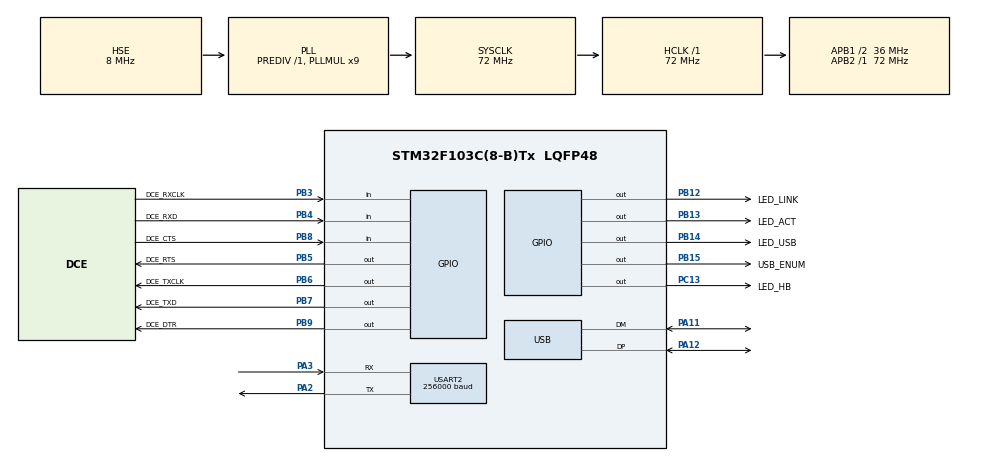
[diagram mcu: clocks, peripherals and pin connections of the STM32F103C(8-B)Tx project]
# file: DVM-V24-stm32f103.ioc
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Dma.Request0=USART2_TX
Dma.USART2_TX.0.Direction=DMA_MEMORY_TO_PERIPH
Dma.USART2_TX.0.Instance=DMA1_Channel7
Dma.USART2_TX.0.MemDataAlignment=DMA_MDATAALIGN_BYTE
Dma.USART2_TX.0.MemInc=DMA_MINC_ENABLE
Dma.USART2_TX.0.Mode=DMA_NORMAL
Dma.USART2_TX.0.PeriphDataAlignment=DMA_PDATAALIGN_BYTE
Dma.USART2_TX.0.PeriphInc=DMA_PINC_DISABLE
Dma.USART2_TX.0.Priority=DMA_PRIORITY_LOW
IWDG.Reload=624
Mcu.Family=STM32F1
Mcu.Name=STM32F103C(8-B)Tx
Mcu.Package=LQFP48
NVIC.DMA1_Channel7_IRQn=true\:2\:0\:true\:false\:true\:false\:true\:true
NVIC.PriorityGroup=NVIC_PRIORITYGROUP_4
NVIC.TIM2_IRQn=true\:0\:0\:false\:false\:true\:true\:true\:true
NVIC.USART2_IRQn=true\:4\:0\:true\:false\:true\:true\:true\:true
NVIC.USB_HP_CAN1_TX_IRQn=true\:3\:0\:true\:false\:true\:true\:true\:true
NVIC.USB_LP_CAN1_RX0_IRQn=true\:3\:0\:true\:false\:true\:true\:true\:true
PA11.Mode=Device
PA11.Signal=USB_DM
PA12.Mode=Device
PA12.Signal=USB_DP
PA13.Mode=Serial_Wire
PA13.Signal=SYS_JTMS-SWDIO
PA14.Mode=Serial_Wire
PA14.Signal=SYS_JTCK-SWCLK
PA2.Mode=Asynchronous
PA2.Signal=USART2_TX
PA3.Mode=Asynchronous
PA3.Signal=USART2_RX
PB12.GPIO_Label=LED_LINK
PB12.Signal=GPIO_Output
PB13.GPIO_Label=LED_ACT
PB13.Signal=GPIO_Output
PB14.GPIO_Label=LED_USB
PB14.Signal=GPIO_Output
PB15.GPIO_Label=USB_ENUM
PB15.Signal=GPIO_Output
PB3.GPIO_Label=DCE_RXCLK
PB3.Signal=GPIO_Input
PB4.GPIO_Label=DCE_RXD
PB4.Signal=GPIO_Input
PB5.GPIO_Label=DCE_RTS
PB5.Signal=GPIO_Output
PB6.GPIO_Label=DCE_TXCLK
PB6.Signal=GPIO_Output
PB7.GPIO_Label=DCE_TXD
PB7.Signal=GPIO_Output
PB8.GPIO_Label=DCE_CTS
PB8.Signal=GPIO_Input
PB9.GPIO_Label=DCE_DTR
PB9.Signal=GPIO_Output
PC13-TAMPER-RTC.GPIO_Label=LED_HB
PC13-TAMPER-RTC.Signal=GPIO_Output
PD0-OSC_IN.Mode=HSE-External-Oscillator
PD0-OSC_IN.Signal=RCC_OSC_IN
PD1-OSC_OUT.Mode=HSE-External-Oscillator
PD1-OSC_OUT.Signal=RCC_OSC_OUT
ProjectManager.HeapSize=0x600
ProjectManager.StackSize=0x400
ProjectManager.TargetToolchain=Makefile
RCC.AHBFreq_Value=72000000
RCC.APB1CLKDivider=RCC_HCLK_DIV2
RCC.APB1Freq_Value=36000000
RCC.APB1TimFreq_Value=72000000
RCC.APB2Freq_Value=72000000
RCC.APB2TimFreq_Value=72000000
RCC.HCLKFreq_Value=72000000
RCC.PLLMUL=RCC_PLL_MUL9
RCC.PLLSourceVirtual=RCC_PLLSOURCE_HSE
RCC.SYSCLKFreq_VALUE=72000000
RCC.SYSCLKSource=RCC_SYSCLKSOURCE_PLLCLK
RCC.USBFreq_Value=48000000
RCC.USBPrescaler=RCC_USBCLKSOURCE_PLL_DIV1_5
TIM2.AutoReloadPreload=TIM_AUTORELOAD_PRELOAD_ENABLE
TIM2.Period=1875
TIM2.Prescaler=1
USART2.BaudRate=256000
USART2.Mode=MODE_TX
USART2.VirtualMode=VM_ASYNC
USB_DEVICE.CLASS_NAME_FS=CDC
USB_DEVICE.VirtualMode=Cdc
USB_DEVICE.VirtualModeFS=Cdc_FS
VP_IWDG_VS_IWDG.Mode=IWDG_Activate
VP_TIM2_VS_ClockSourceINT.Mode=Internal
VP_USB_DEVICE_VS_USB_DEVICE_CDC_FS.Mode=CDC_FS
board=custom

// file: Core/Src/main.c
/* USER CODE BEGIN Header */
/**
 ******************************************************************************
 * @file           : main.c
 * @brief          : Main program body
 ******************************************************************************
 * @attention
 *
 * Copyright (c) 2023 STMicroelectronics.
 * All rights reserved.
 *
 * This software is licensed under terms that can be found in the LICENSE file
 * in the root directory of this software component.
 * If no LICENSE file comes with this software, it is provided AS-IS.
 *
 ******************************************************************************
 */
/* USER CODE END Header */
#include "main.h"
#include "dma.h"
#include "iwdg.h"
#include "tim.h"
#include "usart.h"
#include "usb_device.h"
#include "gpio.h"

/* USER CODE BEGIN Includes */
#include "leds.h"
#include "log.h"
#include "log.h"
#include "serial.h"
#include "sync.h"
#include "util.h"
#include "vcp.h"
#include "hdlc.h"
/* USER CODE END Includes */

/* USER CODE BEGIN PV */
unsigned long rxValidFrames = 0;
unsigned long rxTotalFrames = 0;
unsigned long txTotalFrames = 0;

// LED timers
unsigned long lastHb = 0;
unsigned long lastSync = 0;

// From other files
extern enum RxState SyncRxState;
extern bool HDLCPeerConnected;
/* USER CODE END PV */

void SystemClock_Config(void);

/* USER CODE BEGIN 0 */
void hbLED()
{
    if (HAL_GetTick() - lastHb > 1000)
    {
        LED_HB(1);
        lastHb = HAL_GetTick();
    }
    else if (HAL_GetTick() - lastHb > 100)
    {
        LED_HB(0);
    }
}

void linkLED()
{
    if (SyncRxState == SYNCED)
    {
        LED_LINK(1);
    }
    else
    {
        LED_LINK(0);
    }
}

/* USER CODE END 0 */

int main(void)
{

  /* MCU Configuration--------------------------------------------------------*/

  /* Reset of all peripherals, Initializes the Flash interface and the Systick. */
  HAL_Init();

  /* Configure the system clock */
  SystemClock_Config();

  /* Initialize all configured peripherals */
  MX_GPIO_Init();
  MX_DMA_Init();
  MX_USART2_UART_Init();
  MX_TIM2_Init();
  MX_USB_DEVICE_Init();
  MX_IWDG_Init();
  /* USER CODE BEGIN 2 */
    // Init stuff
    log_set_uart(&huart2);
    SerialClear(&huart2);
    SerialStartup(&huart2);

    // Renumerate the VCP
    //log_info("Renumerating USB VCP");
    //VCPRenumerate();

    // Start sync serial handler
    log_info("Starting synchronous serial handler");
    SyncStartup(&htim2);

    // Done!
    log_info("Startup complete");
    SyncResetRx();

  /* USER CODE END 2 */

  /* Infinite loop */
  /* USER CODE BEGIN WHILE */
    while (1)
    {
        // Processing callbacks
        RxMessageCallback();
        HdlcCallback();
        VCPCallback();
        SerialCallback(&huart2);
        // LED callbacks
        hbLED();
        linkLED();
        // Refresh the IWDG watchdog
        HAL_IWDG_Refresh(&hiwdg);
    /* USER CODE END WHILE */

    }
}

void SystemClock_Config(void)
{
  RCC_OscInitTypeDef RCC_OscInitStruct = {0};
  RCC_ClkInitTypeDef RCC_ClkInitStruct = {0};
  RCC_PeriphCLKInitTypeDef PeriphClkInit = {0};

  /** Initializes the RCC Oscillators according to the specified parameters
  * in the RCC_OscInitTypeDef structure.
  */
  RCC_OscInitStruct.OscillatorType = RCC_OSCILLATORTYPE_LSI|RCC_OSCILLATORTYPE_HSE;
  RCC_OscInitStruct.HSEState = RCC_HSE_ON;
  RCC_OscInitStruct.HSEPredivValue = RCC_HSE_PREDIV_DIV1;
  RCC_OscInitStruct.HSIState = RCC_HSI_ON;
  RCC_OscInitStruct.LSIState = RCC_LSI_ON;
  RCC_OscInitStruct.PLL.PLLState = RCC_PLL_ON;
  RCC_OscInitStruct.PLL.PLLSource = RCC_PLLSOURCE_HSE;
  RCC_OscInitStruct.PLL.PLLMUL = RCC_PLL_MUL9;
  if (HAL_RCC_OscConfig(&RCC_OscInitStruct) != HAL_OK)
  {
    Error_Handler();
  }

  /** Initializes the CPU, AHB and APB buses clocks
  */
  RCC_ClkInitStruct.ClockType = RCC_CLOCKTYPE_HCLK|RCC_CLOCKTYPE_SYSCLK
                              |RCC_CLOCKTYPE_PCLK1|RCC_CLOCKTYPE_PCLK2;
  RCC_ClkInitStruct.SYSCLKSource = RCC_SYSCLKSOURCE_PLLCLK;
  RCC_ClkInitStruct.AHBCLKDivider = RCC_SYSCLK_DIV1;
  RCC_ClkInitStruct.APB1CLKDivider = RCC_HCLK_DIV2;
  RCC_ClkInitStruct.APB2CLKDivider = RCC_HCLK_DIV1;

  if (HAL_RCC_ClockConfig(&RCC_ClkInitStruct, FLASH_LATENCY_2) != HAL_OK)
  {
    Error_Handler();
  }
  PeriphClkInit.PeriphClockSelection = RCC_PERIPHCLK_USB;
  PeriphClkInit.UsbClockSelection = RCC_USBCLKSOURCE_PLL_DIV1_5;
  if (HAL_RCCEx_PeriphCLKConfig(&PeriphClkInit) != HAL_OK)
  {
    Error_Handler();
  }
}

/* USER CODE BEGIN 4 */

// Override for calling sync callback
void HAL_TIM_PeriodElapsedCallback(TIM_HandleTypeDef *htim)
{
    SyncTimerCallback();
}

/* USER CODE END 4 */

void Error_Handler(void)
{
    __disable_irq();
    while (1)
    {
    }
}
